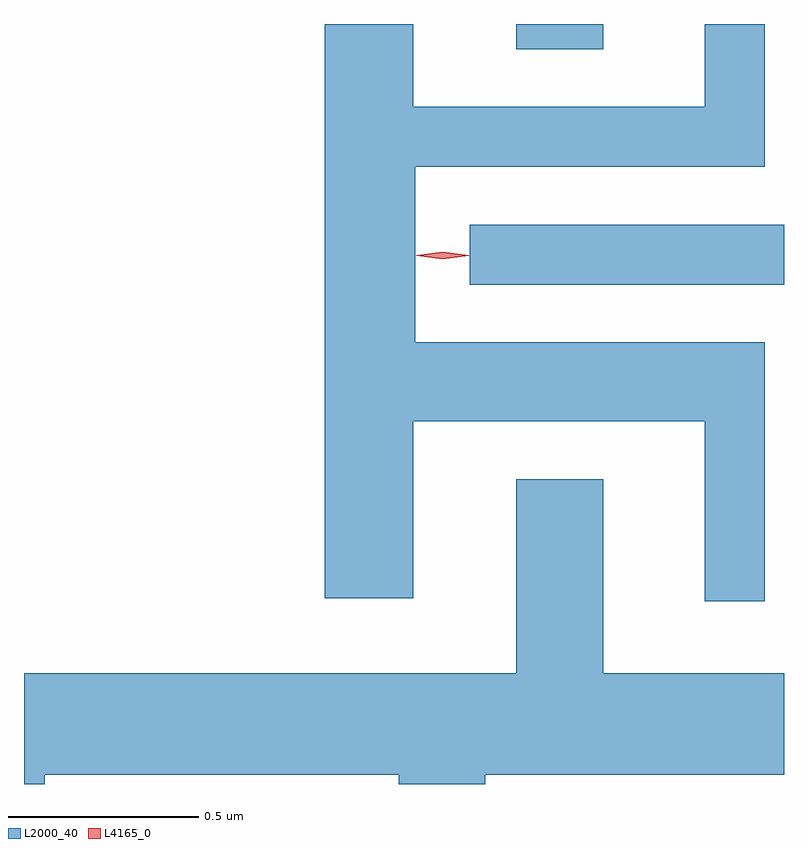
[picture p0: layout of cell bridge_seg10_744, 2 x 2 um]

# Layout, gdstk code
import gdstk
lib = gdstk.Library(unit=1e-6, precision=1e-09)
def R(c, l, rs):  # rectangles x0, y0, x1, y1
    for r in rs: c.add(gdstk.rectangle(r[:2], r[2:], *l))
def P(c, l, *ps):  # polygons
    for p in ps: c.add(gdstk.Polygon(p, *l))
L2000_40 = (2000, 40)
L4165_0 = (4165, 0)

bridge_seg10_744 = lib.new_cell('bridge_seg10_744')
R(bridge_seg10_744, L2000_40, [(931.998,2097.446,932.825,2097.604), (932.121,2098.066,932.349,2098.132)])
P(bridge_seg10_744, L2000_40, [(932.774,2097.294),(931.854,2097.294),(931.854,2097.756),(932.774,2097.756),(932.774,2098.132),(932.616,2098.132),(932.616,2097.914),(931.849,2097.914),(931.849,2098.132),(931.616,2098.132),(931.616,2096.621),(931.849,2096.621),(931.849,2097.086),(932.616,2097.086),(932.616,2096.613),(932.774,2096.613)],
  [(930.879,2096.156),(931.811,2096.156),(931.811,2096.132),(932.039,2096.132),(932.039,2096.156),(932.825,2096.156),(932.825,2096.424),(932.349,2096.424),(932.349,2096.934),(932.121,2096.934),(932.121,2096.424),(930.825,2096.424),(930.825,2096.132),(930.879,2096.132)])
P(bridge_seg10_744, L4165_0, [(931.927,2097.513),(931.861,2097.522),(931.86,2097.523),(931.861,2097.524),(931.927,2097.533),(931.992,2097.524),(931.993,2097.523),(931.992,2097.522)],
  [(931.927,2097.513),(931.858,2097.522),(931.857,2097.523),(931.858,2097.524),(931.927,2097.533),(931.996,2097.524),(931.996,2097.523),(931.996,2097.522)])

lib.write_gds('bridge_seg10_744.gds')
